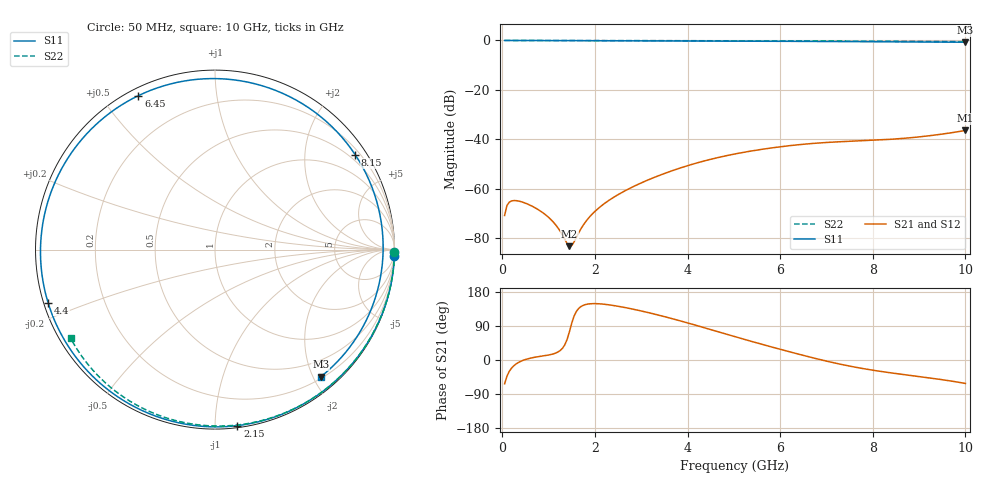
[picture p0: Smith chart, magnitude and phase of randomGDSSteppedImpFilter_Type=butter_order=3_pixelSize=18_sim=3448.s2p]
! freq	dB(S11)	phase(S11)	dB(S12)	phase(S12)
!  dB(S21)	phase(S21)	dB(S22)	phase(S22)
!S-par simulation data
#  GHz  S  DB  R 50
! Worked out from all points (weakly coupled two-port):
!   200 points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, 50 MHz to 10 GHz, reference 50 ohm
!   highest |S21| = -36.43 dB at 10 GHz (marker M1); lowest = -83.2 dB at 1.45 GHz (marker M2)
!   lowest |S11| = -0.7 dB at 10 GHz (marker M3), VSWR 24.46, Z = 11.3 - j106 ohm
!   |S11| at or under -10 dB: nowhere
!   |S22| runs from -0.5 to 0.0 dB; largest |S21 - S12| = 0
!   S11 on the Smith chart (normalised r, x): 50 MHz: 0, -57; 2.15 GHz: 0.01, -1.14; 4.4 GHz: 0.01, -0.16; 6.45 GHz: 0.03, +0.62; 8.15 GHz: 0.34, +3.23; 10 GHz: 0.23, -2.11
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0.05  -0.00 -2.0  -70.82 -62.8  -70.82 -62.8  -0.00 -0.9
0.1  -0.00 -4.0  -66.81 -43.0  -66.81 -43.0  -0.00 -1.7
0.15  -0.00 -6.0  -65.45 -30.1  -65.45 -30.1  -0.00 -2.6
0.45  -0.01 -18.0  -65.49 -0.8  -65.49 -0.8  -0.01 -7.7
0.9  -0.04 -35.6  -70.05 11.1  -70.05 11.1  -0.02 -15.4
1.35  -0.07 -52.9  -80.50 40.1  -80.50 40.1  -0.03 -23.0
1.45  -0.07 -56.7  -83.24 74.7  -83.24 74.7  -0.03 -24.7
1.6  -0.08 -62.4  -79.64 128.3  -79.64 128.3  -0.03 -27.2
1.75  -0.08 -68.0  -74.67 144.4  -74.67 144.4  -0.04 -29.7
2.15  -0.10 -82.7  -66.76 147.8  -66.76 147.8  -0.05 -36.3
2.75  -0.13 -104.3  -59.86 136.0  -59.86 136.0  -0.06 -46.0
3.4  -0.16 -127.1  -54.54 117.7  -54.54 117.7  -0.08 -56.4
4.4  -0.21 -162.4  -48.56 83.8  -48.56 83.8  -0.10 -71.7
5.05  -0.26 173.8  -45.83 60.7  -45.83 60.7  -0.13 -81.3
5.75  -0.31 146.4  -43.65 36.6  -43.65 36.6  -0.15 -91.4
6.45  -0.37 116.4  -42.09 13.7  -42.09 13.7  -0.19 -101.2
6.7  -0.39 105.0  -41.67 6.0  -41.67 6.0  -0.20 -104.6
7.4  -0.45 71.5  -40.89 -13.7  -40.89 -13.7  -0.25 -114.1
8.15  -0.51 34.1  -40.25 -29.7  -40.25 -29.7  -0.31 -124.1
8.35  -0.52 24.1  -40.03 -33.2  -40.03 -33.2  -0.33 -126.7
9.1  -0.59 -11.8  -38.82 -45.3  -38.82 -45.3  -0.40 -136.6
10  -0.71 -50.2  -36.43 -61.9  -36.43 -61.9  -0.50 -148.4
